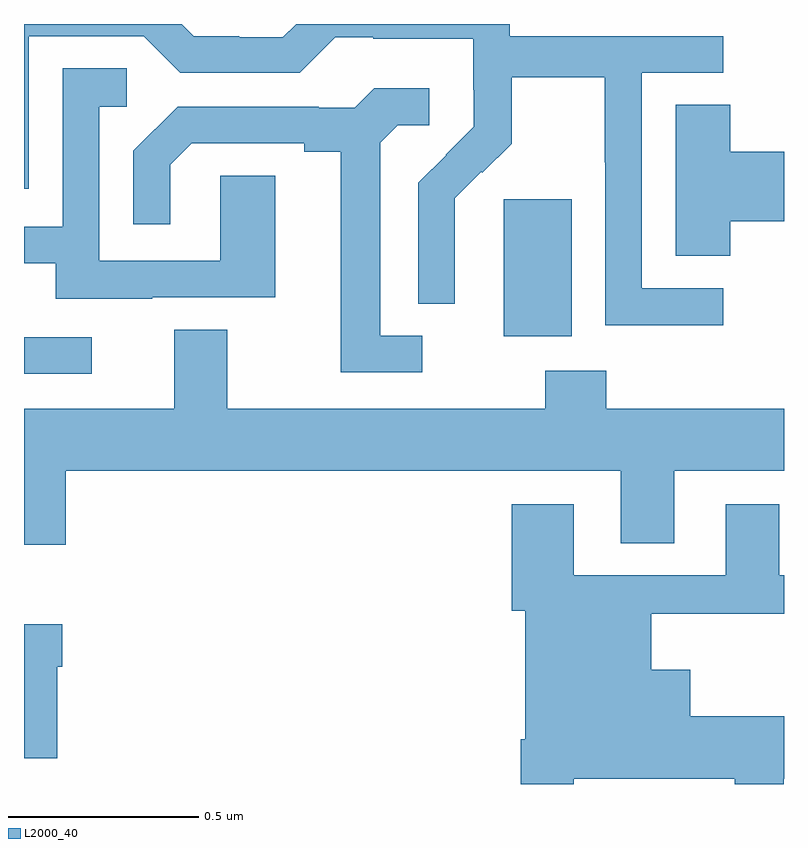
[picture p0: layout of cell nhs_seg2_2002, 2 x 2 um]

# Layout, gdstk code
import gdstk
lib = gdstk.Library(unit=1e-6, precision=1e-09)
def R(c, l, rs):  # rectangles x0, y0, x1, y1
    for r in rs: c.add(gdstk.rectangle(r[:2], r[2:], *l))
def P(c, l, *ps):  # polygons
    for p in ps: c.add(gdstk.Polygon(p, *l))
L2000_40 = (2000, 40)

nhs_seg2_2002 = lib.new_cell('nhs_seg2_2002')
R(nhs_seg2_2002, L2000_40, [(135,659.88,135.178,659.976), (136.262,659.978,136.441,660.339)])
P(nhs_seg2_2002, L2000_40, [(136.84,660.105),(136.626,660.105),(136.626,660.672),(136.84,660.672),(136.84,660.768),(136.278,660.768),(136.278,660.8),(135.716,660.8),(135.681,660.765),(135.566,660.765),(135.566,660.768),(135.447,660.768),(135.415,660.8),(135,660.8),(135,660.366),(135.012,660.366),(135.012,660.768),(135.315,660.768),(135.411,660.672),(135.726,660.672),(135.819,660.765),(135.919,660.765),(135.919,660.761),(136.182,660.761),(136.182,660.627),(136.184,660.627),(136.184,660.53),(136.11,660.456),(136.111,660.455),(136.038,660.382),(136.038,660.064),(136.134,660.064),(136.134,660.218),(136.133,660.218),(136.133,660.341),(136.203,660.411),(136.206,660.408),(136.283,660.485),(136.283,660.66),(136.528,660.66),(136.528,660.436),(136.53,660.436),(136.53,660.007),(136.84,660.007)],
  [(135.337,660.081),(135.661,660.081),(135.661,660.401),(135.516,660.401),(135.516,660.177),(135.198,660.177),(135.198,660.582),(135.271,660.582),(135.271,660.683),(135.102,660.683),(135.102,660.267),(135,660.267),(135,660.171),(135.083,660.171),(135.083,660.077),(135.337,660.077)],
  [(136.048,659.979),(135.937,659.979),(135.937,660.487),(135.984,660.534),(136.066,660.534),(136.066,660.631),(135.922,660.631),(135.87,660.579),(135.776,660.579),(135.776,660.582),(135.404,660.582),(135.288,660.466),(135.288,660.273),(135.385,660.273),(135.385,660.429),(135.442,660.486),(135.737,660.486),(135.737,660.464),(135.833,660.464),(135.833,659.883),(136.048,659.883)],
  [(136.859,660.281),(137,660.281),(137,660.464),(136.859,660.464),(136.859,660.587),(136.715,660.587),(136.715,660.19),(136.859,660.19)],
  [(135.11,659.624),(136.571,659.624),(136.571,659.434),(136.711,659.434),(136.711,659.624),(137,659.624),(137,659.788),(136.532,659.788),(136.532,659.887),(136.372,659.887),(136.372,659.788),(135.535,659.788),(135.535,659.996),(135.395,659.996),(135.395,659.788),(135,659.788),(135,659.43),(135.11,659.43)],
  [(136.447,658.814),(136.871,658.814),(136.871,658.8),(136.999,658.8),(136.999,658.814),(137,658.814),(137,658.978),(136.753,658.978),(136.753,659.101),(136.651,659.101),(136.651,659.248),(137,659.248),(137,659.349),(136.987,659.349),(136.987,659.536),(136.847,659.536),(136.847,659.349),(136.447,659.349),(136.447,659.536),(136.283,659.536),(136.283,659.256),(136.319,659.256),(136.319,658.918),(136.307,658.918),(136.307,658.8),(136.447,658.8)],
  [(135.088,659.108),(135.101,659.108),(135.101,659.221),(135,659.221),(135,658.868),(135.088,658.868)])

lib.write_gds('nhs_seg2_2002.gds')
